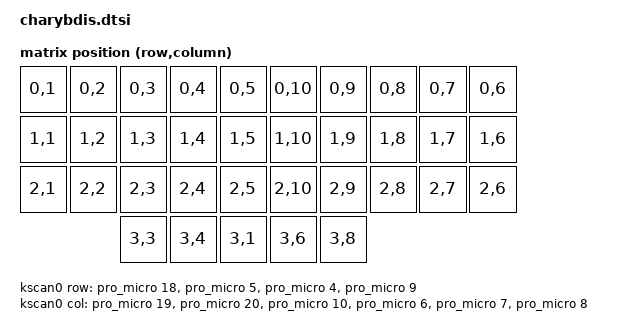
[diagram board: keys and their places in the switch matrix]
/*
 * Copyright (c) 2020 ZMK Contributors
 *
 * SPDX-License-Identifier: MIT
 */

#include <dt-bindings/zmk/matrix_transform.h>
#include "charybdis-layout.dtsi"

/ {
    chosen {
        zmk,kscan = &kscan0;
        zmk,physical-layout = &charybdis_5col_layout;
    };

    default_transform: keymap_transform_0 {
        compatible = "zmk,matrix-transform";
        columns = <10>;
        rows = <4>;

        map = <
           RC(0,1) RC(0,2) RC(0,3) RC(0,4) RC(0,5)  RC(0,10) RC(0,9) RC(0,8) RC(0,7) RC(0,6)
           RC(1,1) RC(1,2) RC(1,3) RC(1,4) RC(1,5)  RC(1,10) RC(1,9) RC(1,8) RC(1,7) RC(1,6)
           RC(2,1) RC(2,2) RC(2,3) RC(2,4) RC(2,5)  RC(2,10) RC(2,9) RC(2,8) RC(2,7) RC(2,6)
                           RC(3,3) RC(3,4) RC(3,1)  RC(3,6)  RC(3,8)
        >;
    };

    kscan0: kscan {
        compatible = "zmk,kscan-gpio-matrix";
        wakeup-source;

        diode-direction = "row2col";
        col-gpios
        = <&pro_micro 19 (GPIO_ACTIVE_HIGH | GPIO_PULL_DOWN)>
        , <&pro_micro 20 (GPIO_ACTIVE_HIGH | GPIO_PULL_DOWN)>
        , <&pro_micro 10 (GPIO_ACTIVE_HIGH | GPIO_PULL_DOWN)>
        , <&pro_micro 6 (GPIO_ACTIVE_HIGH | GPIO_PULL_DOWN)>
        , <&pro_micro 7 (GPIO_ACTIVE_HIGH | GPIO_PULL_DOWN)>
        , <&pro_micro 8 (GPIO_ACTIVE_HIGH | GPIO_PULL_DOWN)>
        ;

    row-gpios
        = <&pro_micro 18 GPIO_ACTIVE_HIGH>
        , <&pro_micro 5 GPIO_ACTIVE_HIGH>
        , <&pro_micro 4 GPIO_ACTIVE_HIGH>
        , <&pro_micro 9 GPIO_ACTIVE_HIGH>
        ;
    };

    vbatt: vbatt {
        compatible = "zmk,battery-nrf-vddh";
    };

    split_inputs {
        #address-cells = <1>;
        #size-cells = <0>;

        trackball_split: trackball_split@0 {
            compatible = "zmk,input-split";
            reg = <0>;
        };
    };

    trackball_listener: trackball_listener {
        compatible = "zmk,input-listener";
        status = "disabled";
        device = <&trackball_split>;
    };
};

#define INPUT_EV_KEY 0x01               /**< Key event */
#define INPUT_EV_REL 0x02               /**< Relative coordinate event */
#define INPUT_EV_ABS 0x03               /**< Absolute coordinate event */
#define INPUT_EV_MSC 0x04               /**< Miscellaneous event */
#define INPUT_EV_VENDOR_START 0xf0      /**< Vendor specific event start */
#define INPUT_EV_VENDOR_STOP 0xff       /**< Vendor specific event stop */

#define INPUT_REL_X 0x00                /**< Relative X coordinate */
#define INPUT_REL_Y 0x01                /**< Relative Y coordinate */
#define INPUT_REL_WHEEL 0x08            /**< Relative wheel coordinate */
#define INPUT_REL_HWHEEL 0x06           /**< Relative horizontal wheel coordinate */
#define INPUT_REL_MISC 0x09             /**< Relative misc coordinate */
